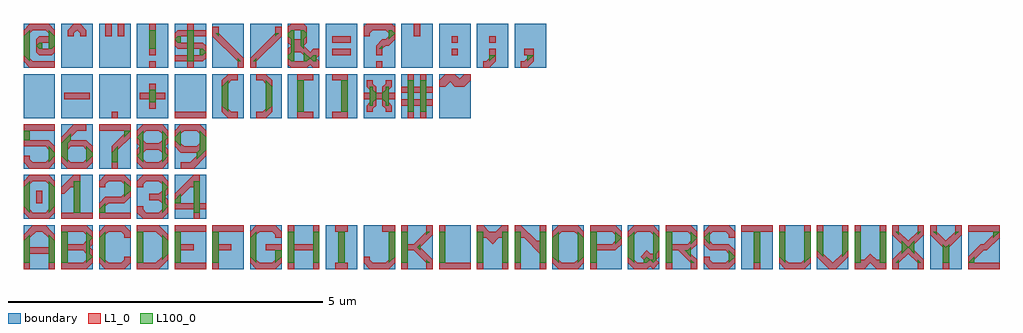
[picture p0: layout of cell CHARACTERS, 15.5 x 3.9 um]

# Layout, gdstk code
import gdstk
lib = gdstk.Library(unit=1e-6, precision=1e-09)
def R(c, l, rs):  # rectangles x0, y0, x1, y1
    for r in rs: c.add(gdstk.rectangle(r[:2], r[2:], *l))
def A(c, l, x, y, w, h, nx, ny, dx, dy):  # array of equal rectangles
    R(c, l, [(x+i*dx, y+j*dy, x+i*dx+w, y+j*dy+h) for i in range(nx) for j in range(ny)])
def P(c, l, *ps):  # polygons
    for p in ps: c.add(gdstk.Polygon(p, *l))
L1_0 = (1, 0)
boundary = (2, 0)
L100_0 = (100, 0)

c_9 = lib.new_cell('9')
P(c_9, L1_0, [(0.1,0),(0.1,0.1),(0.25,0.1),(0.35,0.2),(0.35,0.25),(0.1,0.25),(0,0.35),(0.35,0.35),(0.4,0.4),(0.4,0.55),(0.35,0.6),(0.15,0.6),(0.1,0.55),(0.1,0.4),(0.15,0.35),(0,0.35),(0,0.6),(0.1,0.7),(0.4,0.7),(0.5,0.6),(0.5,0.2),(0.3,0)])
R(c_9, boundary, [(0,0,0.5,0.7)])

c_i = lib.new_cell('I')
P(c_i, L1_0, [(0.15,0),(0.15,0.1),(0.2,0.1),(0.2,0.6),(0.15,0.6),(0.15,0.7),(0.35,0.7),(0.35,0.6),(0.3,0.6),(0.3,0.1),(0.35,0.1),(0.35,0)])
R(c_i, boundary, [(0,0,0.5,0.7)])

c_f = lib.new_cell('F')
P(c_f, L1_0, [(0,0),(0,0.7),(0.5,0.7),(0.5,0.6),(0.1,0.6),(0.1,0.4),(0.3,0.4),(0.3,0.3),(0.1,0.3),(0.1,0)])
R(c_f, boundary, [(0,0,0.5,0.7)])

c_c = lib.new_cell('C')
P(c_c, L1_0, [(0.1,0),(0,0.1),(0,0.6),(0.1,0.7),(0.4,0.7),(0.5,0.6),(0.5,0.5),(0.4,0.5),(0.4,0.55),(0.35,0.6),(0.15,0.6),(0.1,0.55),(0.1,0.15),(0.15,0.1),(0.35,0.1),(0.4,0.15),(0.4,0.2),(0.5,0.2),(0.5,0.1),(0.4,0)])
R(c_c, boundary, [(0,0,0.5,0.7)])

c_j = lib.new_cell('J')
P(c_j, L1_0, [(0.1,0),(0,0.1),(0,0.2),(0.1,0.2),(0.1,0.15),(0.15,0.1),(0.35,0.1),(0.4,0.15),(0.4,0.6),(0.3,0.6),(0.3,0.7),(0.5,0.7),(0.5,0.1),(0.4,0)])
R(c_j, boundary, [(0,0,0.5,0.7)])

c_m = lib.new_cell('M')
P(c_m, L1_0, [(0,0),(0,0.7),(0.1,0.7),(0.2,0.6),(0.3,0.6),(0.4,0.7),(0.5,0.7),(0.5,0),(0.4,0),(0.4,0.5),(0.35,0.5),(0.25,0.4),(0.15,0.5),(0.1,0.5),(0.1,0)])
R(c_m, boundary, [(0,0,0.5,0.7)])

c_p = lib.new_cell('P')
P(c_p, L1_0, [(0,0),(0,0.7),(0.4,0.7),(0.5,0.6),(0.5,0.4),(0.4,0.3),(0.1,0.3),(0.1,0.4),(0.35,0.4),(0.4,0.45),(0.4,0.55),(0.35,0.6),(0.1,0.6),(0.1,0)])
R(c_p, boundary, [(0,0,0.5,0.7)])

c_s = lib.new_cell('S')
P(c_s, L1_0, [(0.1,0),(0,0.1),(0,0.2),(0.1,0.2),(0.1,0.15),(0.15,0.1),(0.35,0.1),(0.4,0.15),(0.4,0.25),(0.35,0.3),(0.1,0.3),(0,0.4),(0,0.6),(0.1,0.7),(0.4,0.7),(0.5,0.6),(0.5,0.5),(0.4,0.5),(0.4,0.55),(0.35,0.6),(0.15,0.6),(0.1,0.55),(0.1,0.45),(0.15,0.4),(0.4,0.4),(0.5,0.3),(0.5,0.1),(0.4,0)])
R(c_s, boundary, [(0,0,0.5,0.7)])

c_v = lib.new_cell('V')
P(c_v, L1_0, [(0.2,0),(0,0.2),(0,0.7),(0.1,0.7),(0.1,0.25),(0.25,0.1),(0.4,0.25),(0.4,0.7),(0.5,0.7),(0.5,0.2),(0.3,0)])
R(c_v, boundary, [(0,0,0.5,0.7)])

c_y = lib.new_cell('Y')
P(c_y, L1_0, [(0.2,0),(0.2,0.35),(0,0.55),(0,0.7),(0.1,0.7),(0.1,0.6),(0.25,0.45),(0.4,0.6),(0.4,0.7),(0.5,0.7),(0.5,0.55),(0.3,0.35),(0.3,0)])
R(c_y, boundary, [(0,0,0.5,0.7)])

c_2 = lib.new_cell('2')
P(c_2, L1_0, [(0,0),(0,0.25),(0.1,0.35),(0.35,0.35),(0.4,0.4),(0.4,0.55),(0.35,0.6),(0.15,0.6),(0.1,0.55),(0.1,0.5),(0,0.5),(0,0.6),(0.1,0.7),(0.4,0.7),(0.5,0.6),(0.5,0.35),(0.4,0.25),(0.15,0.25),(0.1,0.2),(0.1,0.1),(0.5,0.1),(0.5,0)])
R(c_2, boundary, [(0,0,0.5,0.7)])

c_5 = lib.new_cell('5')
P(c_5, L1_0, [(0.1,0),(0,0.1),(0,0.2),(0.1,0.2),(0.1,0.15),(0.15,0.1),(0.35,0.1),(0.4,0.15),(0.4,0.3),(0.35,0.35),(0,0.35),(0,0.7),(0.5,0.7),(0.5,0.6),(0.1,0.6),(0.1,0.45),(0.4,0.45),(0.5,0.35),(0.5,0.1),(0.4,0)])
R(c_5, boundary, [(0,0,0.5,0.7)])

c_8 = lib.new_cell('8')
P(c_8, L1_0, [(0.1,0),(0,0.1),(0,0.3),(0.05,0.35),(0,0.4),(0,0.6),(0.1,0.7),(0.4,0.7),(0.5,0.6),(0.15,0.6),(0.1,0.55),(0.1,0.45),(0.15,0.4),(0.35,0.4),(0.4,0.45),(0.4,0.55),(0.35,0.6),(0.5,0.6),(0.5,0.4),(0.45,0.35),(0.5,0.3),(0.15,0.3),(0.1,0.25),(0.1,0.15),(0.15,0.1),(0.35,0.1),(0.4,0.15),(0.4,0.25),(0.35,0.3),(0.5,0.3),(0.5,0.1),(0.4,0)])
R(c_8, boundary, [(0,0,0.5,0.7)])

c_0 = lib.new_cell('0')
R(c_0, L1_0, [(0.2,0.25,0.3,0.45)])
P(c_0, L1_0, [(0.1,0),(0,0.1),(0,0.6),(0.1,0.7),(0.4,0.7),(0.5,0.6),(0.15,0.6),(0.1,0.55),(0.1,0.15),(0.15,0.1),(0.35,0.1),(0.4,0.15),(0.4,0.55),(0.35,0.6),(0.5,0.6),(0.5,0.1),(0.4,0)])
R(c_0, boundary, [(0,0,0.5,0.7)])

c_g = lib.new_cell('G')
P(c_g, L1_0, [(0.1,0),(0,0.1),(0,0.6),(0.1,0.7),(0.4,0.7),(0.5,0.6),(0.5,0.5),(0.4,0.5),(0.4,0.55),(0.35,0.6),(0.15,0.6),(0.1,0.55),(0.1,0.15),(0.15,0.1),(0.35,0.1),(0.4,0.15),(0.4,0.3),(0.25,0.3),(0.25,0.4),(0.5,0.4),(0.5,0.1),(0.4,0)])
R(c_g, boundary, [(0,0,0.5,0.7)])

c_d = lib.new_cell('D')
P(c_d, L1_0, [(0,0),(0,0.7),(0.35,0.7),(0.45,0.6),(0.1,0.6),(0.1,0.1),(0.3,0.1),(0.4,0.2),(0.4,0.5),(0.3,0.6),(0.45,0.6),(0.5,0.55),(0.5,0.15),(0.35,0)])
R(c_d, boundary, [(0,0,0.5,0.7)])

c_a = lib.new_cell('A')
P(c_a, L1_0, [(0,0),(0,0.55),(0.15,0.7),(0.35,0.7),(0.45,0.6),(0.2,0.6),(0.1,0.5),(0.1,0.35),(0.4,0.35),(0.4,0.5),(0.3,0.6),(0.45,0.6),(0.5,0.55),(0.5,0),(0.4,0),(0.4,0.25),(0.1,0.25),(0.1,0)])
R(c_a, boundary, [(0,0,0.5,0.7)])

c_l = lib.new_cell('L')
P(c_l, L1_0, [(0,0),(0,0.7),(0.1,0.7),(0.1,0.1),(0.5,0.1),(0.5,0)])
R(c_l, boundary, [(0,0,0.5,0.7)])

c_o = lib.new_cell('O')
P(c_o, L1_0, [(0.1,0),(0,0.1),(0,0.6),(0.1,0.7),(0.4,0.7),(0.5,0.6),(0.5,0.35),(0.4,0.35),(0.4,0.55),(0.35,0.6),(0.15,0.6),(0.1,0.55),(0.1,0.15),(0.15,0.1),(0.35,0.1),(0.4,0.15),(0.4,0.35),(0.5,0.35),(0.5,0.1),(0.4,0)])
R(c_o, boundary, [(0,0,0.5,0.7)])

c_r = lib.new_cell('R')
P(c_r, L1_0, [(0,0),(0,0.7),(0.4,0.7),(0.5,0.6),(0.1,0.6),(0.1,0.4),(0.35,0.4),(0.4,0.45),(0.4,0.55),(0.35,0.6),(0.5,0.6),(0.5,0.4),(0.4,0.3),(0.4,0.25),(0.5,0.15),(0.5,0),(0.4,0),(0.4,0.1),(0.2,0.3),(0.1,0.3),(0.1,0)])
R(c_r, boundary, [(0,0,0.5,0.7)])

c_u = lib.new_cell('U')
P(c_u, L1_0, [(0.1,0),(0,0.1),(0,0.7),(0.1,0.7),(0.1,0.15),(0.15,0.1),(0.35,0.1),(0.4,0.15),(0.4,0.7),(0.5,0.7),(0.5,0.1),(0.4,0)])
R(c_u, boundary, [(0,0,0.5,0.7)])

c_x = lib.new_cell('X')
P(c_x, L1_0, [(0,0),(0,0.15),(0.15,0.3),(0.15,0.4),(0,0.55),(0,0.7),(0.1,0.7),(0.1,0.6),(0.25,0.45),(0.4,0.6),(0.4,0.7),(0.5,0.7),(0.5,0.55),(0.35,0.4),(0.35,0.3),(0.5,0.15),(0.5,0),(0.4,0),(0.4,0.1),(0.25,0.25),(0.1,0.1),(0.1,0)])
R(c_x, boundary, [(0,0,0.5,0.7)])

c_1 = lib.new_cell('1')
P(c_1, L1_0, [(0,0),(0,0.1),(0.2,0.1),(0.2,0.5),(0.15,0.5),(0.05,0.4),(0,0.4),(0,0.5),(0.2,0.7),(0.3,0.7),(0.3,0.1),(0.5,0.1),(0.5,0)])
R(c_1, boundary, [(0,0,0.5,0.7)])

c_4 = lib.new_cell('4')
P(c_4, L1_0, [(0.3,0),(0.3,0.15),(0,0.15),(0,0.25),(0.3,0.25),(0.3,0.5),(0.25,0.5),(0.1,0.35),(0.1,0.25),(0,0.25),(0,0.4),(0.3,0.7),(0.4,0.7),(0.4,0.25),(0.5,0.25),(0.5,0.15),(0.4,0.15),(0.4,0)])
R(c_4, boundary, [(0,0,0.5,0.7)])

c_7 = lib.new_cell('7')
P(c_7, L1_0, [(0.2,0),(0.2,0.35),(0.4,0.55),(0.4,0.6),(0,0.6),(0,0.7),(0.5,0.7),(0.5,0.5),(0.3,0.3),(0.3,0)])
R(c_7, boundary, [(0,0,0.5,0.7)])

c_h = lib.new_cell('H')
P(c_h, L1_0, [(0,0),(0,0.7),(0.1,0.7),(0.1,0.4),(0.4,0.4),(0.4,0.7),(0.5,0.7),(0.5,0),(0.4,0),(0.4,0.3),(0.1,0.3),(0.1,0)])
R(c_h, boundary, [(0,0,0.5,0.7)])

c_e = lib.new_cell('E')
P(c_e, L1_0, [(0,0),(0,0.7),(0.5,0.7),(0.5,0.6),(0.1,0.6),(0.1,0.4),(0.3,0.4),(0.3,0.3),(0.1,0.3),(0.1,0.1),(0.5,0.1),(0.5,0)])
R(c_e, boundary, [(0,0,0.5,0.7)])

c_b = lib.new_cell('B')
P(c_b, L1_0, [(0,0),(0,0.7),(0.4,0.7),(0.5,0.6),(0.1,0.6),(0.1,0.4),(0.35,0.4),(0.4,0.45),(0.4,0.55),(0.35,0.6),(0.5,0.6),(0.5,0.4),(0.45,0.35),(0.5,0.3),(0.1,0.3),(0.1,0.1),(0.35,0.1),(0.4,0.15),(0.4,0.25),(0.35,0.3),(0.5,0.3),(0.5,0.1),(0.4,0)])
R(c_b, boundary, [(0,0,0.5,0.7)])

c_k = lib.new_cell('K')
P(c_k, L1_0, [(0,0),(0,0.7),(0.1,0.7),(0.1,0.4),(0.2,0.4),(0.4,0.6),(0.4,0.7),(0.5,0.7),(0.5,0.55),(0.3,0.35),(0.5,0.15),(0.5,0),(0.4,0),(0.4,0.1),(0.2,0.3),(0.1,0.3),(0.1,0)])
R(c_k, boundary, [(0,0,0.5,0.7)])

c_n = lib.new_cell('N')
P(c_n, L1_0, [(0,0),(0,0.7),(0.1,0.7),(0.35,0.45),(0.4,0.45),(0.4,0.7),(0.5,0.7),(0.5,0),(0.4,0),(0.4,0.25),(0.15,0.5),(0.1,0.5),(0.1,0)])
R(c_n, boundary, [(0,0,0.5,0.7)])

c_q = lib.new_cell('Q')
P(c_q, L1_0, [(0.1,0),(0,0.1),(0,0.6),(0.1,0.7),(0.4,0.7),(0.5,0.6),(0.15,0.6),(0.1,0.55),(0.1,0.15),(0.15,0.1),(0.25,0.1),(0.25,0.15),(0.2,0.2),(0.3,0.3),(0.35,0.25),(0.4,0.25),(0.4,0.55),(0.35,0.6),(0.5,0.6),(0.5,0.2),(0.45,0.15),(0.5,0.1),(0.4,0),(0.35,0.05),(0.3,0)])
R(c_q, boundary, [(0,0,0.5,0.7)])

c_t = lib.new_cell('T')
P(c_t, L1_0, [(0.2,0),(0.2,0.6),(0,0.6),(0,0.7),(0.5,0.7),(0.5,0.6),(0.3,0.6),(0.3,0)])
R(c_t, boundary, [(0,0,0.5,0.7)])

c_w = lib.new_cell('W')
P(c_w, L1_0, [(0,0),(0,0.7),(0.1,0.7),(0.1,0.15),(0.15,0.15),(0.25,0.25),(0.35,0.15),(0.4,0.15),(0.4,0.7),(0.5,0.7),(0.5,0),(0.35,0),(0.25,0.1),(0.15,0)])
R(c_w, boundary, [(0,0,0.5,0.7)])

c_z = lib.new_cell('Z')
P(c_z, L1_0, [(0,0),(0,0.2),(0.2,0.4),(0.25,0.4),(0.4,0.55),(0.4,0.6),(0,0.6),(0,0.7),(0.5,0.7),(0.5,0.5),(0.3,0.3),(0.25,0.3),(0.1,0.15),(0.1,0.1),(0.5,0.1),(0.5,0)])
R(c_z, boundary, [(0,0,0.5,0.7)])

c_3 = lib.new_cell('3')
P(c_3, L1_0, [(0.1,0),(0,0.1),(0,0.2),(0.1,0.2),(0.1,0.15),(0.15,0.1),(0.35,0.1),(0.4,0.15),(0.4,0.25),(0.35,0.3),(0.2,0.3),(0.2,0.4),(0.35,0.4),(0.4,0.45),(0.4,0.55),(0.35,0.6),(0.15,0.6),(0.1,0.55),(0.1,0.5),(0,0.5),(0,0.6),(0.1,0.7),(0.4,0.7),(0.5,0.6),(0.5,0.4),(0.45,0.35),(0.5,0.3),(0.5,0.1),(0.4,0)])
R(c_3, boundary, [(0,0,0.5,0.7)])

c_6 = lib.new_cell('6')
P(c_6, L1_0, [(0.1,0),(0,0.1),(0,0.5),(0.2,0.7),(0.4,0.7),(0.4,0.6),(0.25,0.6),(0.15,0.5),(0.15,0.45),(0.4,0.45),(0.5,0.35),(0.15,0.35),(0.1,0.3),(0.1,0.15),(0.15,0.1),(0.35,0.1),(0.4,0.15),(0.4,0.3),(0.35,0.35),(0.5,0.35),(0.5,0.1),(0.4,0)])
R(c_6, boundary, [(0,0,0.5,0.7)])

characters = lib.new_cell('CHARACTERS')
R(characters, L1_0, [(1.4,2.4,1.5,2.5), (2.4,2.4,2.9,2.5), (0.65,2.7,1.05,2.8), (2,3.2,2.1,3.3), (5.6,3.2,5.7,3.3), (2,3.4,2.1,3.9), (4.9,3.4,5.2,3.5), (6.8,3.4,6.9,3.5), (4.9,3.6,5.2,3.7), (6.8,3.6,6.9,3.7), (7.4,3.6,7.5,3.7), (1.3,3.7,1.4,3.9), (1.5,3.7,1.6,3.9), (6.2,3.7,6.3,3.9)])
P(characters, L1_0, [(3.6,3.2),(3.6,3.35),(4,3.75),(4,3.85),(4.1,3.85),(4.1,3.7),(3.7,3.3),(3.7,3.2)],
  [(6.1,2.4),(6.1,2.6),(6,2.6),(6,2.7),(6.1,2.7),(6.1,2.8),(6,2.8),(6,2.9),(6.1,2.9),(6.1,3.1),(6.2,3.1),(6.2,2.9),(6.3,2.9),(6.3,3.1),(6.4,3.1),(6.4,2.9),(6.5,2.9),(6.5,2.8),(6.4,2.8),(6.4,2.7),(6.5,2.7),(6.5,2.6),(6.4,2.6),(6.4,2.4),(6.3,2.4),(6.3,2.8),(6.2,2.8),(6.2,2.7),(6.3,2.7),(6.3,2.6),(6.2,2.6),(6.2,2.4)],
  [(7.9,3.2),(7.9,3.3),(7.95,3.3),(8,3.35),(8,3.4),(7.95,3.4),(7.95,3.5),(8.1,3.5),(8.1,3.3),(8,3.2)],
  [(6.6,2.9),(6.6,3),(6.7,3.1),(6.85,3.1),(6.925,3.025),(7,3.1),(7.1,3.1),(7.1,3),(7,2.9),(6.85,2.9),(6.775,2.975),(6.7,2.9)],
  [(3.4,3.2),(3.4,3.3),(3,3.7),(3,3.85),(3.1,3.85),(3.1,3.75),(3.5,3.35),(3.5,3.2)],
  [(5.6,3.4),(5.6,3.55),(5.7,3.65),(5.75,3.65),(5.8,3.7),(5.8,3.75),(5.75,3.8),(5.55,3.8),(5.5,3.75),(5.5,3.7),(5.4,3.7),(5.4,3.85),(5.45,3.9),(5.85,3.9),(5.9,3.85),(5.9,3.65),(5.8,3.55),(5.75,3.55),(5.7,3.5),(5.7,3.4)],
  [(5.45,2.5),(5.45,2.6),(5.5,2.65),(5.5,2.7),(5.4,2.7),(5.4,2.8),(5.5,2.8),(5.5,2.85),(5.45,2.9),(5.45,3),(5.55,3),(5.55,2.95),(5.6,2.9),(5.6,2.8),(5.7,2.8),(5.7,2.9),(5.75,2.95),(5.75,3),(5.85,3),(5.85,2.9),(5.8,2.85),(5.8,2.8),(5.9,2.8),(5.9,2.7),(5.8,2.7),(5.8,2.65),(5.85,2.6),(5.85,2.5),(5.75,2.5),(5.75,2.55),(5.7,2.6),(5.7,2.7),(5.6,2.7),(5.6,2.6),(5.55,2.55),(5.55,2.5)],
  [(2,2.55),(2,2.7),(1.85,2.7),(1.85,2.8),(2,2.8),(2,2.95),(2.1,2.95),(2.1,2.8),(2.25,2.8),(2.25,2.7),(2.1,2.7),(2.1,2.55)],
  [(4.25,3.2),(4.2,3.25),(4.2,3.5),(4.25,3.55),(4.2,3.6),(4.2,3.85),(4.25,3.9),(4.45,3.9),(4.5,3.85),(4.5,3.8),(4.3,3.8),(4.3,3.65),(4.4,3.65),(4.4,3.8),(4.5,3.8),(4.5,3.6),(4.45,3.55),(4.55,3.45),(4.6,3.5),(4.7,3.5),(4.7,3.45),(4.3,3.45),(4.3,3.3),(4.45,3.3),(4.45,3.4),(4.4,3.45),(4.7,3.45),(4.7,3.4),(4.65,3.35),(4.7,3.3),(4.7,3.2),(4.6,3.2),(4.55,3.25),(4.5,3.2)],
  [(2.6,3.2),(2.6,3.3),(2.4,3.3),(2.4,3.4),(2.6,3.4),(2.6,3.5),(2.45,3.5),(2.4,3.55),(2.4,3.75),(2.45,3.8),(2.6,3.8),(2.6,3.9),(2.7,3.9),(2.7,3.8),(2.9,3.8),(2.9,3.7),(2.5,3.7),(2.5,3.6),(2.6,3.6),(2.6,3.7),(2.7,3.7),(2.7,3.6),(2.85,3.6),(2.9,3.55),(2.9,3.5),(2.7,3.5),(2.7,3.4),(2.8,3.4),(2.8,3.5),(2.9,3.5),(2.9,3.35),(2.85,3.3),(2.7,3.3),(2.7,3.2)],
  [(0.7,3.7),(0.7,3.8),(0.8,3.9),(0.9,3.9),(1,3.8),(1,3.7),(0.9,3.7),(0.9,3.75),(0.85,3.8),(0.8,3.75),(0.8,3.7)],
  [(0.1,3.2),(0,3.3),(0,3.8),(0.1,3.9),(0.4,3.9),(0.5,3.8),(0.5,3.5),(0.4,3.5),(0.4,3.6),(0.3,3.6),(0.3,3.5),(0.5,3.5),(0.5,3.45),(0.45,3.4),(0.25,3.4),(0.2,3.45),(0.2,3.65),(0.25,3.7),(0.4,3.7),(0.4,3.75),(0.35,3.8),(0.15,3.8),(0.1,3.75),(0.1,3.35),(0.15,3.3),(0.5,3.3),(0.5,3.2)],
  [(7.3,3.2),(7.3,3.3),(7.35,3.3),(7.4,3.35),(7.4,3.5),(7.5,3.5),(7.5,3.3),(7.4,3.2)],
  [(3.25,2.4),(3.15,2.5),(3.15,3),(3.25,3.1),(3.4,3.1),(3.4,3),(3.3,3),(3.25,2.95),(3.25,2.55),(3.3,2.5),(3.4,2.5),(3.4,2.4)],
  [(4.9,2.4),(4.9,2.5),(5.05,2.5),(5.05,3),(4.9,3),(4.9,3.1),(5.15,3.1),(5.15,2.4)],
  [(3.7,2.4),(3.7,2.5),(3.8,2.5),(3.85,2.55),(3.85,2.95),(3.8,3),(3.7,3),(3.7,3.1),(3.85,3.1),(3.95,3),(3.95,2.5),(3.85,2.4)],
  [(4.35,2.4),(4.35,3.1),(4.6,3.1),(4.6,3),(4.45,3),(4.45,2.5),(4.6,2.5),(4.6,2.4)])
A(characters, boundary, 0, 2.4, 0.5, 0.7, 12, 1, 0.6, 0)
A(characters, boundary, 0, 3.2, 0.5, 0.7, 14, 1, 0.6, 0)
A(characters, L100_0, 1.8, 0.1, 0.1, 0.5, 3, 1, 0.6, 0)
A(characters, L100_0, 4.2, 0.1, 0.1, 0.5, 3, 1, 0.4, 0)
A(characters, L100_0, 6, 0.1, 0.1, 0.5, 3, 1, 0.6, 0)
R(characters, L100_0, [(0.6,0.1,0.7,0.6), (7.6,0.1,7.7,0.6), (7.8,0.1,7.9,0.6), (8.2,0.1,8.3,0.6), (9,0.1,9.1,0.6), (10.2,0.1,10.3,0.6), (11.6,0.1,11.7,0.6), (13.2,0.1,13.3,0.6), (13.6,0.1,13.7,0.6), (0.8,0.9,0.9,1.4), (2.7,0.9,2.8,1.4), (0,2.05,0.1,2.2), (4.35,2.5,4.45,3), (5.05,2.5,5.15,3), (6.1,2.5,6.2,3), (6.3,2.5,6.4,3), (2,2.65,2.1,2.85), (2.6,3.3,2.7,3.8), (2,3.5,2.1,3.8)])
P(characters, L100_0, [(5.75,2.6),(5.75,2.65),(5.7,2.7),(5.7,2.8),(5.75,2.85),(5.75,2.9),(5.8,2.9),(5.8,2.6)],
  [(6.3,0.3),(6.25,0.35),(6.3,0.4)],
  [(6.4,0.55),(6.4,0.6),(6.45,0.6)],
  [(14.2,0.55),(14.2,0.6),(14.25,0.6)],
  [(14.8,0.55),(14.8,0.6),(14.85,0.6)],
  [(4,3.7),(4,3.75),(4.05,3.75)],
  [(2.2,0.15),(2.2,0.55),(2.3,0.45),(2.3,0.25)],
  [(8.8,0.1),(8.8,0.6),(8.9,0.5),(8.9,0.2)],
  [(0.4,0.9),(0.4,1.4),(0.5,1.3),(0.5,1)],
  [(3.85,2.5),(3.85,3),(3.95,2.9),(3.95,2.6)],
  [(4.45,3.3),(4.45,3.45),(4.55,3.35),(4.5,3.3)],
  [(2.8,3.4),(2.8,3.5),(2.85,3.5),(2.9,3.45),(2.85,3.4)],
  [(1,0.1),(1,0.6),(1.1,0.5),(1.05,0.45),(1.05,0.25),(1.1,0.2)],
  [(2.2,0.9),(2.2,1.4),(2.3,1.3),(2.25,1.25),(2.25,1.05),(2.3,1)],
  [(2.2,1.7),(2.2,2.2),(2.3,2.1),(2.25,2.05),(2.25,1.85),(2.3,1.8)],
  [(1.2,0.9),(1.2,0.95),(1.3,1.05),(1.3,0.9)],
  [(2.4,1.05),(2.4,1.1),(2.5,1.2),(2.5,1.05)],
  [(5.5,2.6),(5.5,2.9),(5.55,2.9),(5.55,2.85),(5.6,2.8),(5.6,2.7),(5.55,2.65),(5.55,2.6)],
  [(14.6,0.1),(14.6,0.4),(14.65,0.35),(14.7,0.4),(14.7,0.1)],
  [(5.8,3.65),(5.8,3.8),(5.85,3.8),(5.9,3.75)],
  [(6.4,0.1),(6.4,0.15),(6.45,0.1)],
  [(10.6,0.1),(10.6,0.15),(10.65,0.1)],
  [(14.2,0.1),(14.2,0.15),(14.25,0.1)],
  [(3.4,3.3),(3.4,3.35),(3.45,3.3)],
  [(15.4,0.5),(15.4,0.6),(15.5,0.6)],
  [(1.6,2.1),(1.6,2.2),(1.7,2.2)],
  [(7.4,3.3),(7.4,3.4),(7.5,3.4)],
  [(8,3.3),(8,3.4),(8.1,3.4)],
  [(1.3,0.1),(1.2,0.2),(1.2,0.5),(1.3,0.6)],
  [(3.7,0.1),(3.6,0.2),(3.6,0.5),(3.7,0.6)],
  [(8.5,0.1),(8.4,0.2),(8.4,0.5),(8.5,0.6)],
  [(9.7,0.1),(9.6,0.2),(9.6,0.5),(9.7,0.6)],
  [(0.1,0.9),(0,1),(0,1.3),(0.1,1.4)],
  [(3.25,2.5),(3.15,2.6),(3.15,2.9),(3.25,3)],
  [(0.1,3.3),(0,3.4),(0,3.7),(0.1,3.8)],
  [(1.6,1.15),(1.6,1.4),(1.7,1.3),(1.7,1.25)],
  [(0.4,1.7),(0.4,1.95),(0.5,1.85),(0.5,1.8)],
  [(1,1.7),(1,1.95),(1.1,1.85),(1.1,1.8)],
  [(0.4,3.5),(0.4,3.8),(0.5,3.7),(0.5,3.55),(0.45,3.5)],
  [(10.6,0.2),(10.5,0.3),(10.55,0.3),(10.6,0.35)],
  [(10,0.1),(9.95,0.15),(10,0.15),(10,0.6),(10.1,0.5),(10.1,0.3),(10.05,0.25),(10.05,0.15)],
  [(4,0.1),(4,0.3),(4.1,0.3),(4.1,0.2)],
  [(12.7,0.2),(12.6,0.3),(12.6,0.6),(12.7,0.6)],
  [(5.8,0.1),(5.8,0.6),(5.9,0.6),(5.9,0.2)],
  [(12.4,0.1),(12.4,0.6),(12.5,0.6),(12.5,0.2)],
  [(12.1,0.1),(12,0.2),(12,0.6),(12.1,0.6)],
  [(11.2,0.1),(11.2,0.3),(11.3,0.2)],
  [(13.95,0.25),(13.95,0.45),(14.05,0.35)],
  [(9.4,0.4),(9.4,0.6),(9.5,0.5)],
  [(10.6,0.4),(10.6,0.6),(10.7,0.5)],
  [(4.6,3.3),(4.55,3.35),(4.6,3.4),(4.65,3.4),(4.65,3.3)],
  [(0.25,3.5),(0.2,3.55),(0.25,3.6),(0.3,3.6),(0.3,3.5)],
  [(2.45,3.6),(2.4,3.65),(2.45,3.7),(2.5,3.7),(2.5,3.6)],
  [(15,0.1),(15.1,0.2),(15.1,0.1)],
  [(14.15,0.25),(14.05,0.35),(14.15,0.45)],
  [(10.9,0.4),(10.8,0.5),(10.9,0.6)],
  [(0,0.1),(0,0.45),(0.1,0.55),(0.1,0.1)],
  [(13,0.2),(13,0.6),(13.1,0.6),(13.1,0.3)],
  [(0.4,0.1),(0.4,0.55),(0.5,0.45),(0.5,0.1)],
  [(1.9,1.7),(1.8,1.8),(1.85,1.85),(1.85,2.05),(1.8,2.1),(1.9,2.2)],
  [(13.85,0.1),(13.9,0.15),(13.9,0.1)],
  [(3.65,3.3),(3.7,3.35),(3.7,3.3)],
  [(5.65,3.5),(5.7,3.55),(5.7,3.5)],
  [(2.5,1.95),(2.4,2.05),(2.4,2.1),(2.5,2.2)],
  [(1.4,1.7),(1.4,1.85),(1.5,1.95),(1.5,1.7)],
  [(13.9,0.55),(13.85,0.6),(13.9,0.6)],
  [(14.5,0.55),(14.45,0.6),(14.5,0.6)],
  [(3.1,3.7),(3.05,3.75),(3.1,3.75)],
  [(4.45,3.5),(4.4,3.55),(4.4,3.8),(4.45,3.8),(4.5,3.75),(4.5,3.7),(4.45,3.65)],
  [(0.7,1.7),(0.6,1.8),(0.6,2),(0.75,2.15),(0.75,2.05),(0.7,2)],
  [(2.75,1.75),(2.75,1.85),(2.8,1.9),(2.8,2.2),(2.9,2.1),(2.9,1.9)],
  [(4.25,3.3),(4.2,3.35),(4.2,3.4),(4.25,3.45),(4.25,3.65),(4.2,3.7),(4.2,3.75),(4.25,3.8),(4.3,3.8),(4.3,3.3)],
  [(9.85,0.1),(9.85,0.15),(9.9,0.2),(9.95,0.15),(9.9,0.1)])
characters.add(gdstk.Reference(c_9, (2.4,1.6)))
characters.add(gdstk.Reference(c_i, (4.8,0)))
characters.add(gdstk.Reference(c_f, (3,0)))
characters.add(gdstk.Reference(c_c, (1.2,0)))
characters.add(gdstk.Reference(c_j, (5.4,0)))
characters.add(gdstk.Reference(c_m, (7.2,0)))
characters.add(gdstk.Reference(c_p, (9,0)))
characters.add(gdstk.Reference(c_s, (10.8,0)))
characters.add(gdstk.Reference(c_v, (12.6,0)))
characters.add(gdstk.Reference(c_y, (14.4,0)))
characters.add(gdstk.Reference(c_2, (1.2,0.8)))
characters.add(gdstk.Reference(c_5, (0,1.6)))
characters.add(gdstk.Reference(c_8, (1.8,1.6)))
characters.add(gdstk.Reference(c_0, (0,0.8)))
characters.add(gdstk.Reference(c_g, (3.6,0)))
characters.add(gdstk.Reference(c_d, (1.8,0)))
characters.add(gdstk.Reference(c_a, (0,0)))
characters.add(gdstk.Reference(c_l, (6.6,0)))
characters.add(gdstk.Reference(c_o, (8.4,0)))
characters.add(gdstk.Reference(c_r, (10.2,0)))
characters.add(gdstk.Reference(c_u, (12,0)))
characters.add(gdstk.Reference(c_x, (13.8,0)))
characters.add(gdstk.Reference(c_1, (0.6,0.8)))
characters.add(gdstk.Reference(c_4, (2.4,0.8)))
characters.add(gdstk.Reference(c_7, (1.2,1.6)))
characters.add(gdstk.Reference(c_h, (4.2,0)))
characters.add(gdstk.Reference(c_e, (2.4,0)))
characters.add(gdstk.Reference(c_b, (0.6,0)))
characters.add(gdstk.Reference(c_k, (6,0)))
characters.add(gdstk.Reference(c_n, (7.8,0)))
characters.add(gdstk.Reference(c_q, (9.6,0)))
characters.add(gdstk.Reference(c_t, (11.4,0)))
characters.add(gdstk.Reference(c_w, (13.2,0)))
characters.add(gdstk.Reference(c_z, (15,0)))
characters.add(gdstk.Reference(c_3, (1.8,0.8)))
characters.add(gdstk.Reference(c_6, (0.6,1.6)))

lib.write_gds('CHARACTERS.gds')
